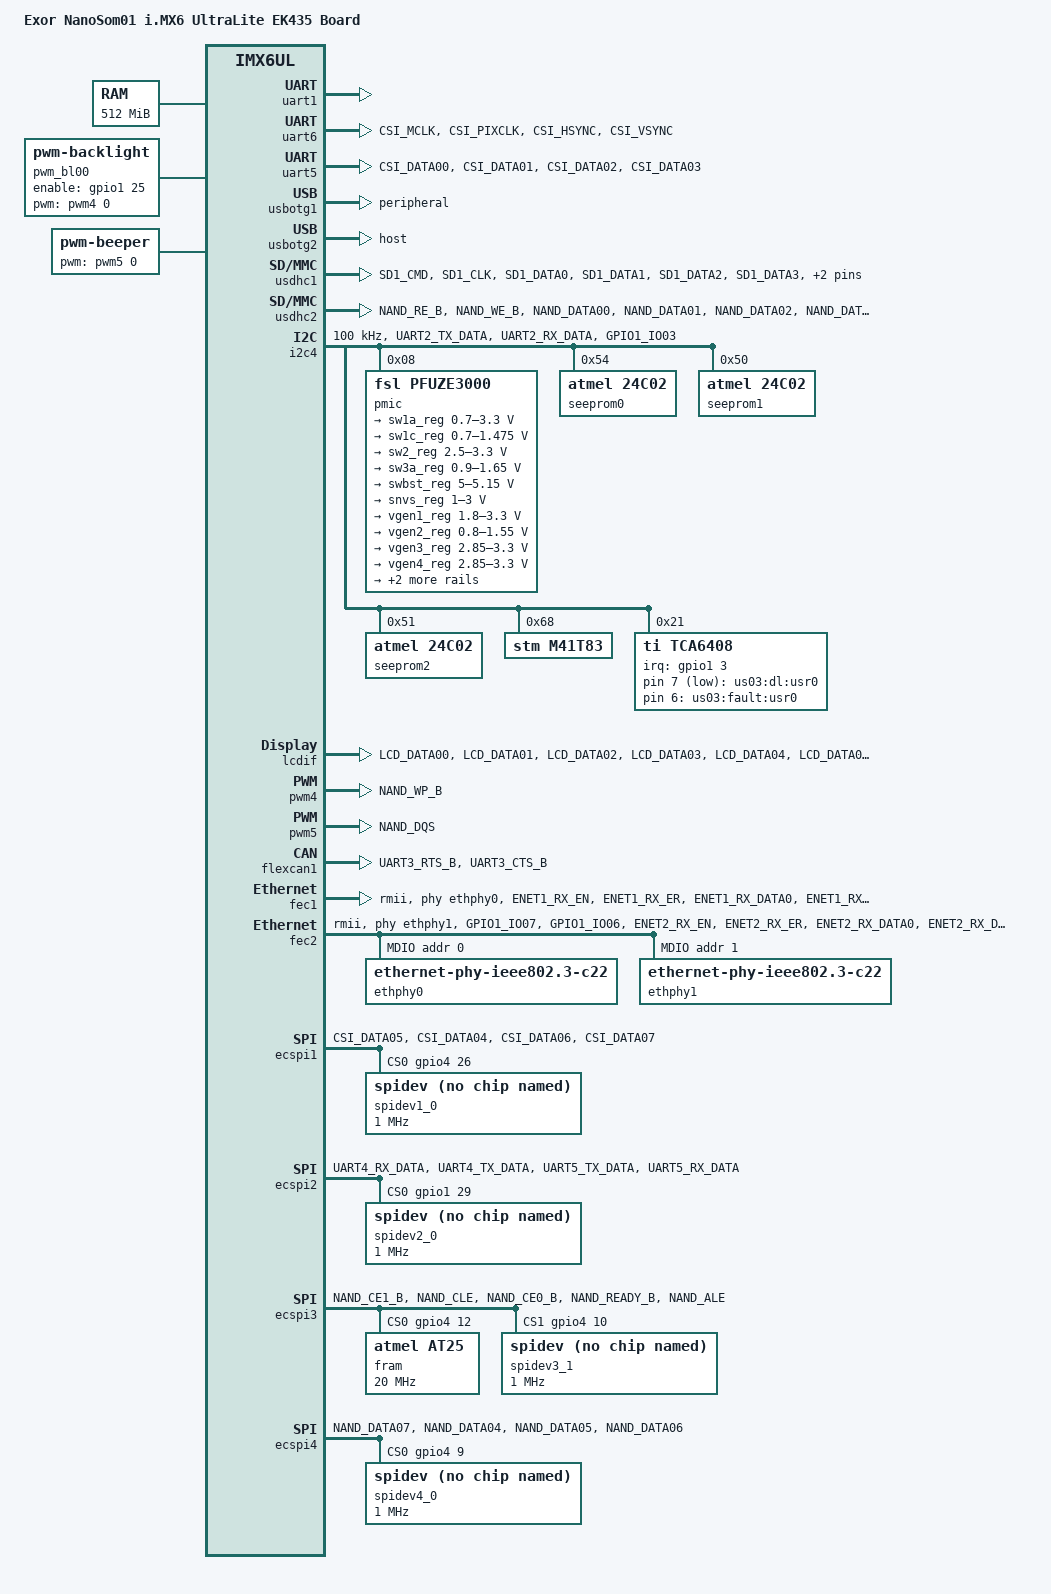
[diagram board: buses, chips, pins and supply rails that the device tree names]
/*
 * Copyright (C) 2018 Exor International.
 *
 * This program is free software; you can redistribute it and/or modify
 * it under the terms of the GNU General Public License version 2 as
 * published by the Free Software Foundation.
 */

/dts-v1/;

#include <dt-bindings/input/input.h>
#include "imx6ul.dtsi"

/ {
	model = "Exor NanoSom01 i.MX6 UltraLite EK435 Board";
	compatible = "exor,ns01-ek435", "fsl,imx6ul";

	chosen {
		stdout-path = &uart1;
	};

	memory {
		reg = <0x80000000 0x20000000>;
	};

	leds {
		compatible = "gpio-leds";

		led@1 {
			label = "us03:dl:usr0";
			gpios = <&tca6408 7 1>;
			default-state = "on";
		};

		led@2 {
			label = "us03:fault:usr0";
			gpios = <&tca6408 6 0>;
			default-state = "off";
		};

	};

	pwm_bl00: backlight {
		compatible = "pwm-backlight";
		pwms = <&pwm4 0 50000>;
		brightness-levels = <0 4 8 12 16 20 24 28 32 36 40 44 48 52 56 60 64 68 72 76 80 84 88 92 96 100>;
		default-brightness-level = <25>;
		enable-gpios = <&gpio1 25 0>;
		status = "okay";
	};

	beeper {
	  compatible = "pwm-beeper";
	  pwms = <&pwm5 0 50000 0>;
	};
	
};

&cpu0 {
	arm-supply = <&reg_arm>;
	soc-supply = <&reg_soc>;
};

&gpc {
	fsl,cpu_pupscr_sw2iso = <0x2>;
	fsl,cpu_pupscr_sw = <0x1>;
	fsl,cpu_pdnscr_iso2sw = <0x1>;
	fsl,cpu_pdnscr_iso = <0x1>;
	fsl,wdog-reset = <1>; /* watchdog select of reset source */
	fsl,ldo-bypass = <1>; /* use ldo-bypass, u-boot will check it and configure */
};

&uart1 {
	pinctrl-names = "default";
	status = "okay";
};

&uart6 {
	pinctrl-names = "default";
	pinctrl-0 = <&pinctrl_uart6>;
	fsl,uart-has-rtscts;
	status = "okay";
};

&uart5 {
	pinctrl-names = "default";
	pinctrl-0 = <&pinctrl_uart5>;
	fsl,uart-has-rtscts;
	fsl,rs485-invert-rts;
	status = "okay";
};

&usbotg1 {
	dr_mode = "peripheral";
	status = "okay";
};

&usbotg2 {
	dr_mode = "host";
	status = "okay";
};


&usdhc1 {
	pinctrl-names = "default";
	pinctrl-0 = <&pinctrl_usdhc1>;
	cd-gpios = <&gpio1 19 GPIO_ACTIVE_LOW>;
	keep-power-in-suspend;
	enable-sdio-wakeup;
	status = "okay";
};

&usdhc2 {
	pinctrl-names = "default";
	pinctrl-0 = <&pinctrl_usdhc2>;
	no-1-8-v;
	keep-power-in-suspend;
	enable-sdio-wakeup;
	status = "okay";
};

&i2c4 {
	clock-frequency = <100000>;
	pinctrl-names = "default";
	pinctrl-0 = <&pinctrl_i2c4>;
	status = "okay";

	pmic: pfuze3000@08 {
		compatible = "fsl,pfuze3000";
		reg = <0x08>;

		regulators {
			sw1a_reg: sw1a {
					regulator-min-microvolt = <700000>;
					regulator-max-microvolt = <3300000>;
					regulator-boot-on;
					regulator-always-on;
					regulator-ramp-delay = <6250>;
			};

			/* use sw1c_reg to align with pfuze100/pfuze200 */
			sw1c_reg: sw1b {
				regulator-min-microvolt = <700000>;
				regulator-max-microvolt = <1475000>;
				regulator-boot-on;
				regulator-always-on;
				regulator-ramp-delay = <6250>;
			};

			sw2_reg: sw2 {
				regulator-min-microvolt = <2500000>;
				regulator-max-microvolt = <3300000>;
				regulator-boot-on;
				regulator-always-on;
			};

			sw3a_reg: sw3 {
				regulator-min-microvolt = <900000>;
				regulator-max-microvolt = <1650000>;
				regulator-boot-on;
				regulator-always-on;
			};

			swbst_reg: swbst {
				regulator-min-microvolt = <5000000>;
				regulator-max-microvolt = <5150000>;
			};

			snvs_reg: vsnvs {
				regulator-min-microvolt = <1000000>;
				regulator-max-microvolt = <3000000>;
				regulator-boot-on;
				regulator-always-on;
			};

			vref_reg: vrefddr {
				regulator-boot-on;
				regulator-always-on;
			};

			vgen1_reg: vldo1 {
				regulator-min-microvolt = <1800000>;
				regulator-max-microvolt = <3300000>;
				regulator-always-on;
			};

			vgen2_reg: vldo2 {
				regulator-min-microvolt = <800000>;
				regulator-max-microvolt = <1550000>;
				regulator-always-on;
			};

			vgen3_reg: vccsd {
				regulator-min-microvolt = <2850000>;
				regulator-max-microvolt = <3300000>;
				regulator-always-on;
			};

			vgen4_reg: v33 {
				regulator-min-microvolt = <2850000>;
				regulator-max-microvolt = <3300000>;
				regulator-always-on;
			};

			vgen5_reg: vldo3 {
				regulator-min-microvolt = <1800000>;
				regulator-max-microvolt = <3300000>;
				regulator-always-on;
			};

			vgen6_reg: vldo4 {
				regulator-min-microvolt = <1800000>;
				regulator-max-microvolt = <3300000>;
				regulator-always-on;
			};
		};
	};

	seeprom0:seeprom0@54 {
		compatible = "atmel,24c02";
		reg = <0x54>;
	};

	seeprom1:seeprom1@50 {
		compatible = "atmel,24c02";
		reg = <0x50>;
	};

	seeprom2:seeprom2@51 {
		compatible = "atmel,24c02";
		reg = <0x51>;
	};
	
	m41t83:m41t83@68 {
		compatible = "stm,m41t83";
		reg = <0x68>;
	};

	tca6408: tca6408@21 {
		compatible = "ti,tca6408";
		interrupt-parent = <&gpio1>;
		interrupts = <3 0x8>;
		gpio-controller;
		#gpio-cells = <2>;
		interrupt-controller;
		#interrupt-cells = <2>;
		reg = <0x21>;
		restart-if-fails;
	};
};

&iomuxc {
  	pinctrl-names = "default";
	pinctrl-0 = <&pinctrl_hog_1>;
	imx6ul-evk {
		pinctrl_usdhc1: usdhc1grp {
			fsl,pins = <
				MX6UL_PAD_SD1_CMD__USDHC1_CMD     0x17059
				MX6UL_PAD_SD1_CLK__USDHC1_CLK     0x10059
				MX6UL_PAD_SD1_DATA0__USDHC1_DATA0 0x17059
				MX6UL_PAD_SD1_DATA1__USDHC1_DATA1 0x17059
				MX6UL_PAD_SD1_DATA2__USDHC1_DATA2 0x17059
				MX6UL_PAD_SD1_DATA3__USDHC1_DATA3 0x17059
				MX6UL_PAD_UART1_RTS_B__GPIO1_IO19 0x17059 /* SD1 CD */
			>;
		};

		pinctrl_usdhc2: usdhc2grp {
			fsl,pins = <
				MX6UL_PAD_NAND_RE_B__USDHC2_CLK     0x17059
				MX6UL_PAD_NAND_WE_B__USDHC2_CMD     0x17059
				MX6UL_PAD_NAND_DATA00__USDHC2_DATA0 0x17059
				MX6UL_PAD_NAND_DATA01__USDHC2_DATA1 0x17059
				MX6UL_PAD_NAND_DATA02__USDHC2_DATA2 0x17059
				MX6UL_PAD_NAND_DATA03__USDHC2_DATA3 0x17059
			>;
		};

		pinctrl_hog_1: hoggrp-1 {
			fsl,pins = <
				MX6UL_PAD_UART3_TX_DATA__GPIO1_IO24	0x17059 /* EN_VDD */
				MX6UL_PAD_UART3_RX_DATA__GPIO1_IO25	0x17059 /* EN_BL */
				
			>;
		};

		pinctrl_i2c4: i2c4grp {
			fsl,pins = <
				MX6UL_PAD_UART2_TX_DATA__I2C4_SCL 0x4001b8b0
				MX6UL_PAD_UART2_RX_DATA__I2C4_SDA 0x4001b8b0
				MX6UL_PAD_GPIO1_IO03__GPIO1_IO03  0x17059
			>;
		};

		pinctrl_uart6: uart6grp {
			fsl,pins = <
				MX6UL_PAD_CSI_MCLK__UART6_DCE_TX	0x1b0b1
				MX6UL_PAD_CSI_PIXCLK__UART6_DCE_RX	0x1b0b1
				MX6UL_PAD_CSI_HSYNC__UART6_DCE_CTS	0x1b0b1
				MX6UL_PAD_CSI_VSYNC__UART6_DCE_RTS	0x1b0b1
			>;
		};

		pinctrl_uart5: uart5grp {
			fsl,pins = <
				MX6UL_PAD_CSI_DATA00__UART5_DCE_TX	0x1b0b1
				MX6UL_PAD_CSI_DATA01__UART5_DCE_RX	0x1b0b1
				MX6UL_PAD_CSI_DATA02__UART5_DCE_RTS	0x1b0b1
				MX6UL_PAD_CSI_DATA03__UART5_DCE_CTS	0x1b0b1
			>;
		};
		
		pinctrl_lcdif_ctrl: lcdifctrlgrp {
			fsl,pins = <
				MX6UL_PAD_LCD_CLK__LCDIF_CLK	    0x79
				MX6UL_PAD_LCD_ENABLE__LCDIF_ENABLE  0x79
				MX6UL_PAD_LCD_HSYNC__LCDIF_HSYNC    0x79
				MX6UL_PAD_LCD_VSYNC__LCDIF_VSYNC    0x79
			>;
		};

		pinctrl_lcdif_dat: lcdifdatgrp {
			fsl,pins = <
				MX6UL_PAD_LCD_DATA00__LCDIF_DATA00  0x79
				MX6UL_PAD_LCD_DATA01__LCDIF_DATA01  0x79
				MX6UL_PAD_LCD_DATA02__LCDIF_DATA02  0x79
				MX6UL_PAD_LCD_DATA03__LCDIF_DATA03  0x79
				MX6UL_PAD_LCD_DATA04__LCDIF_DATA04  0x79
				MX6UL_PAD_LCD_DATA05__LCDIF_DATA05  0x79
				MX6UL_PAD_LCD_DATA06__LCDIF_DATA06  0x79
				MX6UL_PAD_LCD_DATA07__LCDIF_DATA07  0x79
				MX6UL_PAD_LCD_DATA08__LCDIF_DATA08  0x79
				MX6UL_PAD_LCD_DATA09__LCDIF_DATA09  0x79
				MX6UL_PAD_LCD_DATA10__LCDIF_DATA10  0x79
				MX6UL_PAD_LCD_DATA11__LCDIF_DATA11  0x79
				MX6UL_PAD_LCD_DATA12__LCDIF_DATA12  0x79
				MX6UL_PAD_LCD_DATA13__LCDIF_DATA13  0x79
				MX6UL_PAD_LCD_DATA14__LCDIF_DATA14  0x79
				MX6UL_PAD_LCD_DATA15__LCDIF_DATA15  0x79
			>;
		};

		pinctrl_pwm4: pwm4grp {
			fsl,pins = <
				MX6UL_PAD_NAND_WP_B__PWM4_OUT   0x110b0
			>;
		};
		
		pinctrl_pwm5: pwm5grp {
			fsl,pins = <
				MX6UL_PAD_NAND_DQS__PWM5_OUT   0x110b0
			>;
		};
		
		pinctrl_flexcan1: flexcan1grp{
			fsl,pins = <
				MX6UL_PAD_UART3_RTS_B__FLEXCAN1_RX	0x1b020
				MX6UL_PAD_UART3_CTS_B__FLEXCAN1_TX	0x1b020
			>;
		};

		pinctrl_ecspi1: ecspi1grp-1 {
			fsl,pins = <
				MX6UL_PAD_CSI_DATA05__GPIO4_IO26	0x10b0
				MX6UL_PAD_CSI_DATA04__ECSPI1_SCLK	0x10b0
				MX6UL_PAD_CSI_DATA06__ECSPI1_MOSI	0x10b0
				MX6UL_PAD_CSI_DATA07__ECSPI1_MISO	0x10b0
			>;
		};

		pinctrl_ecspi2: ecspi1grp-2 {
			fsl,pins = <
				MX6UL_PAD_UART4_RX_DATA__GPIO1_IO29	0x10b0
				MX6UL_PAD_UART4_TX_DATA__ECSPI2_SCLK	0x10b0
				MX6UL_PAD_UART5_TX_DATA__ECSPI2_MOSI	0x10b0
				MX6UL_PAD_UART5_RX_DATA__ECSPI2_MISO	0x10b0
			>;
		};
		
		pinctrl_ecspi3: ecspi1grp-3 {
			fsl,pins = <
				MX6UL_PAD_NAND_CE1_B__ECSPI3_MOSI   0x10b0
				MX6UL_PAD_NAND_CLE__ECSPI3_MISO     0x10b0
				MX6UL_PAD_NAND_CE0_B__ECSPI3_SCLK   0x10b0
				MX6UL_PAD_NAND_READY_B__GPIO4_IO12  0x10b0
				MX6UL_PAD_NAND_ALE__GPIO4_IO10      0x10b0
			>;
		};

		pinctrl_ecspi4: ecspi1grp-4 {
			fsl,pins = <
				MX6UL_PAD_NAND_DATA07__GPIO4_IO09	0x10b0
				MX6UL_PAD_NAND_DATA04__ECSPI4_SCLK	0x10b0
				MX6UL_PAD_NAND_DATA05__ECSPI4_MOSI	0x10b0
				MX6UL_PAD_NAND_DATA06__ECSPI4_MISO	0x10b0
			>;
		};
		
		pinctrl_enet1: enet1grp {
			fsl,pins = <
				MX6UL_PAD_ENET1_RX_EN__ENET1_RX_EN	0x1b0b0
				MX6UL_PAD_ENET1_RX_ER__ENET1_RX_ER	0x1b0b0
				MX6UL_PAD_ENET1_RX_DATA0__ENET1_RDATA00	0x1b0b0
				MX6UL_PAD_ENET1_RX_DATA1__ENET1_RDATA01	0x1b0b0
				MX6UL_PAD_ENET1_TX_EN__ENET1_TX_EN	0x1b0b0
				MX6UL_PAD_ENET1_TX_DATA0__ENET1_TDATA00	0x1b0b0
				MX6UL_PAD_ENET1_TX_DATA1__ENET1_TDATA01	0x1b0b0
				MX6UL_PAD_ENET1_TX_CLK__ENET1_REF_CLK1	0x4b01b0a8
			>;
		};

		pinctrl_enet2: enet2grp {
			fsl,pins = <
				MX6UL_PAD_GPIO1_IO07__ENET2_MDC		0x1b0b0
				MX6UL_PAD_GPIO1_IO06__ENET2_MDIO	0x1b0b0
				MX6UL_PAD_ENET2_RX_EN__ENET2_RX_EN	0x1b0b0
				MX6UL_PAD_ENET2_RX_ER__ENET2_RX_ER	0x1b0b0
				MX6UL_PAD_ENET2_RX_DATA0__ENET2_RDATA00	0x1b0b0
				MX6UL_PAD_ENET2_RX_DATA1__ENET2_RDATA01	0x1b0b0
				MX6UL_PAD_ENET2_TX_EN__ENET2_TX_EN	0x1b0b0
				MX6UL_PAD_ENET2_TX_DATA0__ENET2_TDATA00	0x1b0b0
				MX6UL_PAD_ENET2_TX_DATA1__ENET2_TDATA01	0x1b0b0
				MX6UL_PAD_ENET2_TX_CLK__ENET2_REF_CLK2	0x4b01b0a8
			>;
		};
		
		
		
	};
};

&lcdif {
	pinctrl-names = "default";
	pinctrl-0 = <&pinctrl_lcdif_dat
		     &pinctrl_lcdif_ctrl>;
	display = <&lcdout0>;
	status = "okay";
	enable-gpios = <&gpio1 24 0>;

	lcdout0: lcdout {
		bits-per-pixel = <16>;
		bus-width = <16>;

		display-timings {
			native-mode = <&timing0>;
			timing0: timing0 {
			clock-frequency = <9200000>;
			hactive = <480>;
			vactive = <272>;
			hfront-porch = <8>;
			hback-porch = <4>;
			hsync-len = <41>;
			vback-porch = <2>;
			vfront-porch = <4>;
			vsync-len = <10>;

			hsync-active = <0>;
			vsync-active = <0>;
			de-active = <1>;
			pixelclk-active = <0>;
			};
		};
	};
};

&pwm4 {
	pinctrl-names = "default";
	pinctrl-0 = <&pinctrl_pwm4>;
	clocks = <&clks IMX6UL_CLK_PWM4>,
	 <&clks IMX6UL_CLK_PWM4>;
	status = "okay";
};

&pwm5 {
	pinctrl-names = "default";
	pinctrl-0 = <&pinctrl_pwm5>;
	clocks = <&clks IMX6UL_CLK_PWM5>,
	 <&clks IMX6UL_CLK_PWM5>;
	status = "okay";
};

&flexcan1 {
	pinctrl-names = "default";
	pinctrl-0 = <&pinctrl_flexcan1>;
	status = "okay";
};

&fec1 {
	pinctrl-names = "default";
	pinctrl-0 = <&pinctrl_enet1>;
	phy-mode = "rmii";
	phy-handle = <&ethphy0>;
	status = "okay";
};

&fec2 {
	pinctrl-names = "default";
	pinctrl-0 = <&pinctrl_enet2>;
	phy-mode = "rmii";
	phy-handle = <&ethphy1>;
	status = "okay";

	mdio {
		#address-cells = <1>;
		#size-cells = <0>;

		ethphy0: ethernet-phy@0 {
			compatible = "ethernet-phy-ieee802.3-c22";
			reg = <0>;
		};

		ethphy1: ethernet-phy@1 {
			compatible = "ethernet-phy-ieee802.3-c22";
			reg = <1>;
		};
	};
};

&ecspi1 {
	fsl,spi-num-chipselects = <1>;
	cs-gpios = <&gpio4 26 0>;
	pinctrl-names = "default";
	pinctrl-0 = <&pinctrl_ecspi1>;
	status = "okay";
	
	spidev1_0: spi1@0 {
		compatible = "generic,spidev";
		reg = <0>;
		spi-max-frequency = <1000000>;
	};
};

&ecspi2 {
	fsl,spi-num-chipselects = <1>;
	cs-gpios = <&gpio1 29 0>;
	pinctrl-names = "default";
	pinctrl-0 = <&pinctrl_ecspi2>;
	status = "okay";
	
	spidev2_0: spi2@0 {
		compatible = "generic,spidev";
		reg = <0>;
		spi-max-frequency = <1000000>;
	};
};

&ecspi3 {
	fsl,spi-num-chipselects = <2>;
	cs-gpios = <&gpio4 12 0>, <&gpio4 10 0>;
	pinctrl-names = "default";
	pinctrl-0 = <&pinctrl_ecspi3>;
	status = "okay";

	fram: at25@0 {
        /* CS3 FRAM */
	    compatible = "atmel,at25", "st,m95256";
	    reg = <0>;
	    spi-max-frequency = <20000000>;
	    pagesize = <64>;
	    size = <65536>;
	    address-width = <16>;
	};
	
	spidev3_1: spi3@1 {
		compatible = "generic,spidev";
		reg = <1>;
		spi-max-frequency = <1000000>;
	};
};

&ecspi4 {
	fsl,spi-num-chipselects = <1>;
	cs-gpios = <&gpio4 9 0>;
	pinctrl-names = "default";
	pinctrl-0 = <&pinctrl_ecspi4>;
	status = "okay";
	
	spidev4_0: spi4@0 {
		compatible = "generic,spidev";
		reg = <0>;
		spi-max-frequency = <1000000>;
	};
};


